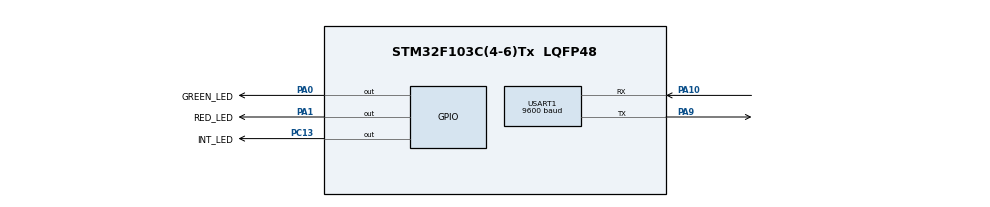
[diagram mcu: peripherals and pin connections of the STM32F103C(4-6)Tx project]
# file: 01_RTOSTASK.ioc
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FREERTOS.Tasks01=defaultTask,24,128,StartDefaultTask,Default,NULL,Dynamic,NULL,NULL;myTask02,8,128,StartTask02,Default,NULL,Dynamic,NULL,NULL;myTask03,8,128,StartTask03,Default,NULL,Dynamic,NULL,NULL
Mcu.Family=STM32F1
Mcu.Name=STM32F103C(4-6)Tx
Mcu.Package=LQFP48
NVIC.PriorityGroup=NVIC_PRIORITYGROUP_4
PA0-WKUP.GPIO_Label=GREEN_LED
PA0-WKUP.Signal=GPIO_Output
PA1.GPIO_Label=RED_LED
PA1.Signal=GPIO_Output
PA10.Mode=Asynchronous
PA10.Signal=USART1_RX
PA9.Mode=Asynchronous
PA9.Signal=USART1_TX
PC13-TAMPER-RTC.GPIO_Label=INT_LED
PC13-TAMPER-RTC.Signal=GPIO_Output
ProjectManager.HeapSize=0x200
ProjectManager.StackSize=0x400
ProjectManager.TargetToolchain=STM32CubeIDE
RCC.APB1Freq_Value=8000000
RCC.APB2Freq_Value=8000000
USART1.BaudRate=9600
USART1.Mode=MODE_TX_RX
USART1.VirtualMode=VM_ASYNC
VP_FREERTOS_VS_CMSIS_V2.Mode=CMSIS_V2
VP_SYS_VS_ND.Mode=No_Debug
board=custom

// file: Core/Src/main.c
/* USER CODE BEGIN Header */
/**
  ******************************************************************************
  * @file           : main.c
  * @brief          : Main program body
  ******************************************************************************
  * @attention
  *
  * Copyright (c) 2026 STMicroelectronics.
  * All rights reserved.
  *
  * This software is licensed under terms that can be found in the LICENSE file
  * in the root directory of this software component.
  * If no LICENSE file comes with this software, it is provided AS-IS.
  *
  ******************************************************************************
  */
/* USER CODE END Header */
#include "main.h"
#include "string.h"
#include "cmsis_os.h"

UART_HandleTypeDef huart1;

/* Definitions for defaultTask */
osThreadId_t defaultTaskHandle;
const osThreadAttr_t defaultTask_attributes = {
  .name = "defaultTask",
  .stack_size = 128 * 4,
  .priority = (osPriority_t) osPriorityNone,
};
/* Definitions for myTask02 */
osThreadId_t myTask02Handle;
const osThreadAttr_t myTask02_attributes = {
  .name = "myTask02",
  .stack_size = 128 * 4,
  .priority = (osPriority_t) osPriorityNone,
};
/* Definitions for myTask03 */
osThreadId_t myTask03Handle;
const osThreadAttr_t myTask03_attributes = {
  .name = "myTask03",
  .stack_size = 128 * 4,
  .priority = (osPriority_t) osPriorityHigh7,
};

void SystemClock_Config(void);
static void MX_GPIO_Init(void);
static void MX_USART1_UART_Init(void);
void StartDefaultTask(void *argument);
void StartTask02(void *argument);
void StartTask03(void *argument);

int main(void)
{

  /* MCU Configuration--------------------------------------------------------*/

  /* Reset of all peripherals, Initializes the Flash interface and the Systick. */
  HAL_Init();

  /* Configure the system clock */
  SystemClock_Config();

  /* Initialize all configured peripherals */
  MX_GPIO_Init();
  MX_USART1_UART_Init();

  /* Init scheduler */
  osKernelInitialize();

  /* Create the thread(s) */
  /* creation of defaultTask */
  defaultTaskHandle = osThreadNew(StartDefaultTask, NULL, &defaultTask_attributes);

  /* creation of myTask02 */
  myTask02Handle = osThreadNew(StartTask02, NULL, &myTask02_attributes);

  /* creation of myTask03 */
  myTask03Handle = osThreadNew(StartTask03, NULL, &myTask03_attributes);

  /* Start scheduler */
  osKernelStart();

  /* We should never get here as control is now taken by the scheduler */

  /* Infinite loop */
  while (1)
  {

  }
}

void SystemClock_Config(void)
{
  RCC_OscInitTypeDef RCC_OscInitStruct = {0};
  RCC_ClkInitTypeDef RCC_ClkInitStruct = {0};

  /** Initializes the RCC Oscillators according to the specified parameters
  * in the RCC_OscInitTypeDef structure.
  */
  RCC_OscInitStruct.OscillatorType = RCC_OSCILLATORTYPE_HSI;
  RCC_OscInitStruct.HSIState = RCC_HSI_ON;
  RCC_OscInitStruct.HSICalibrationValue = RCC_HSICALIBRATION_DEFAULT;
  RCC_OscInitStruct.PLL.PLLState = RCC_PLL_NONE;
  if (HAL_RCC_OscConfig(&RCC_OscInitStruct) != HAL_OK)
  {
    Error_Handler();
  }

  /** Initializes the CPU, AHB and APB buses clocks
  */
  RCC_ClkInitStruct.ClockType = RCC_CLOCKTYPE_HCLK|RCC_CLOCKTYPE_SYSCLK
                              |RCC_CLOCKTYPE_PCLK1|RCC_CLOCKTYPE_PCLK2;
  RCC_ClkInitStruct.SYSCLKSource = RCC_SYSCLKSOURCE_HSI;
  RCC_ClkInitStruct.AHBCLKDivider = RCC_SYSCLK_DIV1;
  RCC_ClkInitStruct.APB1CLKDivider = RCC_HCLK_DIV1;
  RCC_ClkInitStruct.APB2CLKDivider = RCC_HCLK_DIV1;

  if (HAL_RCC_ClockConfig(&RCC_ClkInitStruct, FLASH_LATENCY_0) != HAL_OK)
  {
    Error_Handler();
  }
}

static void MX_USART1_UART_Init(void)
{

  huart1.Instance = USART1;
  huart1.Init.BaudRate = 9600;
  huart1.Init.WordLength = UART_WORDLENGTH_8B;
  huart1.Init.StopBits = UART_STOPBITS_1;
  huart1.Init.Parity = UART_PARITY_NONE;
  huart1.Init.Mode = UART_MODE_TX_RX;
  huart1.Init.HwFlowCtl = UART_HWCONTROL_NONE;
  huart1.Init.OverSampling = UART_OVERSAMPLING_16;
  if (HAL_UART_Init(&huart1) != HAL_OK)
  {
    Error_Handler();
  }

}

static void MX_GPIO_Init(void)
{
  GPIO_InitTypeDef GPIO_InitStruct = {0};

  /* GPIO Ports Clock Enable */
  __HAL_RCC_GPIOC_CLK_ENABLE();
  __HAL_RCC_GPIOA_CLK_ENABLE();

  /*Configure GPIO pin Output Level */
  HAL_GPIO_WritePin(INT_LED_GPIO_Port, INT_LED_Pin, GPIO_PIN_RESET);

  /*Configure GPIO pin Output Level */
  HAL_GPIO_WritePin(GPIOA, GREEN_LED_Pin|RED_LED_Pin, GPIO_PIN_RESET);

  /*Configure GPIO pin : INT_LED_Pin */
  GPIO_InitStruct.Pin = INT_LED_Pin;
  GPIO_InitStruct.Mode = GPIO_MODE_OUTPUT_PP;
  GPIO_InitStruct.Pull = GPIO_NOPULL;
  GPIO_InitStruct.Speed = GPIO_SPEED_FREQ_LOW;
  HAL_GPIO_Init(INT_LED_GPIO_Port, &GPIO_InitStruct);

  /*Configure GPIO pins : GREEN_LED_Pin RED_LED_Pin */
  GPIO_InitStruct.Pin = GREEN_LED_Pin|RED_LED_Pin;
  GPIO_InitStruct.Mode = GPIO_MODE_OUTPUT_PP;
  GPIO_InitStruct.Pull = GPIO_NOPULL;
  GPIO_InitStruct.Speed = GPIO_SPEED_FREQ_LOW;
  HAL_GPIO_Init(GPIOA, &GPIO_InitStruct);

}

void StartDefaultTask(void *argument)
{
  /* USER CODE BEGIN 5 */
  /* Infinite loop */
char str[] = "Task 01 running \n";
  for(;;)
  {
	  HAL_UART_Transmit(&huart1,(uint8_t *)str, strlen(str), 1000);
	  HAL_GPIO_TogglePin(INT_LED_GPIO_Port,INT_LED_Pin);
	  HAL_Delay(1000);

  }
  osDelay(2000);
  /* USER CODE END 5 */
}

void StartTask02(void *argument)
{
  /* USER CODE BEGIN StartTask02 */
  /* Infinite loop */
	char str[] = "Task 02 running \r\n";
  for(;;)
  {
	  HAL_UART_Transmit(&huart1,(uint8_t *)str, strlen(str), 1000);
	  HAL_GPIO_TogglePin(GREEN_LED_GPIO_Port,GREEN_LED_Pin);
	  HAL_Delay(1000);
	  osDelay(2000);

  }
  /* USER CODE END StartTask02 */
}

void StartTask03(void *argument)
{
  /* USER CODE BEGIN StartTask03 */
  /* Infinite loop */
	char str[] = "Task 03 running \r\n";
  for(;;)
  {
	  HAL_UART_Transmit(&huart1,(uint8_t *)str,strlen(str),1000);
	  HAL_GPIO_TogglePin(RED_LED_GPIO_Port,RED_LED_Pin);
	  HAL_Delay(1000);
	   osDelay(2000);
  }
  /* USER CODE END StartTask03 */
}

void Error_Handler(void)
{
  __disable_irq();
  while (1)
  {
  }
}
